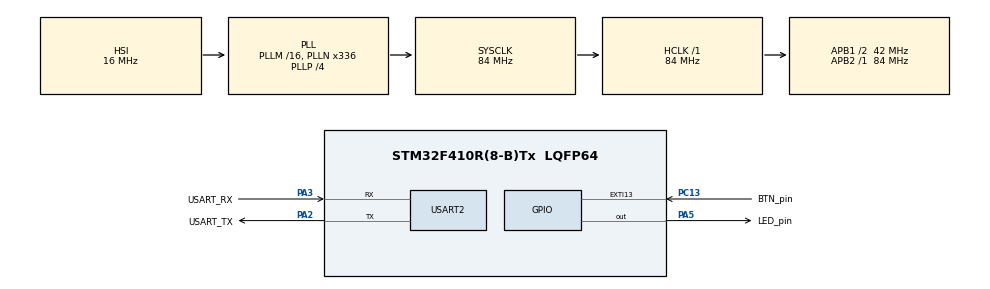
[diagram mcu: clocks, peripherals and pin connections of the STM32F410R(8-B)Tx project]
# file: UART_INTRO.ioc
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Mcu.Family=STM32F4
Mcu.Name=STM32F410R(8-B)Tx
Mcu.Package=LQFP64
NVIC.PriorityGroup=NVIC_PRIORITYGROUP_0
NVIC.USART2_IRQn=true\:0\:0\:false\:false\:true\:true\:true\:true
PA13.GPIO_Label=TMS
PA13.Mode=Serial_Wire
PA13.Signal=SYS_JTMS-SWDIO
PA14.GPIO_Label=TCK
PA14.Mode=Serial_Wire
PA14.Signal=SYS_JTCK-SWCLK
PA2.GPIO_Label=USART_TX
PA2.Mode=Asynchronous
PA2.Signal=USART2_TX
PA3.GPIO_Label=USART_RX
PA3.Mode=Asynchronous
PA3.Signal=USART2_RX
PA5.GPIO_Label=LED_pin
PA5.Signal=GPIO_Output
PB3.GPIO_Label=SWO
PB3.Signal=SYS_JTDO-SWO
PC13-ANTI_TAMP.GPIO_Label=BTN_pin
PC13-ANTI_TAMP.GPIO_ModeDefaultEXTI=GPIO_MODE_IT_FALLING
PC13-ANTI_TAMP.Signal=GPXTI13
PC14-OSC32_IN.Mode=LSE-External-Oscillator
PC14-OSC32_IN.Signal=RCC_OSC32_IN
PC15-OSC32_OUT.Mode=LSE-External-Oscillator
PC15-OSC32_OUT.Signal=RCC_OSC32_OUT
PH0\ -\ OSC_IN.Mode=HSE-External-Clock-Source
PH0\ -\ OSC_IN.Signal=RCC_OSC_IN
PH1\ -\ OSC_OUT.Mode=HSE-External-Clock-Source
PH1\ -\ OSC_OUT.Signal=RCC_OSC_OUT
ProjectManager.HeapSize=0x200
ProjectManager.StackSize=0x400
ProjectManager.TargetToolchain=STM32CubeIDE
RCC.48MHZClocksFreq_Value=84000000
RCC.AHBFreq_Value=84000000
RCC.APB1CLKDivider=RCC_HCLK_DIV2
RCC.APB1Freq_Value=42000000
RCC.APB1TimFreq_Value=84000000
RCC.APB2Freq_Value=84000000
RCC.APB2TimFreq_Value=84000000
RCC.CortexFreq_Value=84000000
RCC.FLatency-AdvancedSettings=FLASH_LATENCY_2
RCC.HCLKFreq_Value=84000000
RCC.HSE_VALUE=8000000
RCC.HSI_VALUE=16000000
RCC.PLLN=336
RCC.PLLP=RCC_PLLP_DIV4
RCC.SYSCLKFreq_VALUE=84000000
RCC.SYSCLKSource=RCC_SYSCLKSOURCE_PLLCLK
RCC.VCOOutputFreq_Value=336000000
USART2.VirtualMode=VM_ASYNC
board=NUCLEO-F410RB

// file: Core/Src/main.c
/* USER CODE BEGIN Header */
/**
 ******************************************************************************
 * @file           : main.c
 * @brief          : Main program body
 ******************************************************************************
 * @attention
 *
 * Copyright (c) 2023 STMicroelectronics.
 * All rights reserved.
 *
 * This software is licensed under terms that can be found in the LICENSE file
 * in the root directory of this software component.
 * If no LICENSE file comes with this software, it is provided AS-IS.
 *
 ******************************************************************************
 */
/* USER CODE END Header */
#include "main.h"

/* USER CODE BEGIN Includes */
#include <string.h>
/* USER CODE END Includes */

UART_HandleTypeDef huart2;

void SystemClock_Config(void);
static void MX_GPIO_Init(void);
static void MX_USART2_UART_Init(void);

/* USER CODE BEGIN 0 */
uint8_t rx_buffer_pos;
uint8_t rx_data[2];
uint8_t rx_buffer[20];

/* USER CODE END 0 */

int main(void) {

	/* MCU Configuration--------------------------------------------------------*/

	/* Reset of all peripherals, Initializes the Flash interface and the Systick. */
	HAL_Init();

	/* Configure the system clock */
	SystemClock_Config();

	/* Initialize all configured peripherals */
	MX_GPIO_Init();
	MX_USART2_UART_Init();
	/* USER CODE BEGIN 2 */
	HAL_UART_Receive_IT(&huart2, (uint8_t*) rx_data, 1);
	/* USER CODE END 2 */

	/* Infinite loop */
	while (1) {

	}
}

void SystemClock_Config(void) {
	RCC_OscInitTypeDef RCC_OscInitStruct = { 0 };
	RCC_ClkInitTypeDef RCC_ClkInitStruct = { 0 };

	/** Configure the main internal regulator output voltage
	 */
	__HAL_RCC_PWR_CLK_ENABLE();
	__HAL_PWR_VOLTAGESCALING_CONFIG(PWR_REGULATOR_VOLTAGE_SCALE1);

	/** Initializes the RCC Oscillators according to the specified parameters
	 * in the RCC_OscInitTypeDef structure.
	 */
	RCC_OscInitStruct.OscillatorType = RCC_OSCILLATORTYPE_HSI;
	RCC_OscInitStruct.HSIState = RCC_HSI_ON;
	RCC_OscInitStruct.HSICalibrationValue = RCC_HSICALIBRATION_DEFAULT;
	RCC_OscInitStruct.PLL.PLLState = RCC_PLL_ON;
	RCC_OscInitStruct.PLL.PLLSource = RCC_PLLSOURCE_HSI;
	RCC_OscInitStruct.PLL.PLLM = 16;
	RCC_OscInitStruct.PLL.PLLN = 336;
	RCC_OscInitStruct.PLL.PLLP = RCC_PLLP_DIV4;
	RCC_OscInitStruct.PLL.PLLQ = 4;
	RCC_OscInitStruct.PLL.PLLR = 2;
	if (HAL_RCC_OscConfig(&RCC_OscInitStruct) != HAL_OK) {
		Error_Handler();
	}

	/** Initializes the CPU, AHB and APB buses clocks
	 */
	RCC_ClkInitStruct.ClockType = RCC_CLOCKTYPE_HCLK | RCC_CLOCKTYPE_SYSCLK
			| RCC_CLOCKTYPE_PCLK1 | RCC_CLOCKTYPE_PCLK2;
	RCC_ClkInitStruct.SYSCLKSource = RCC_SYSCLKSOURCE_PLLCLK;
	RCC_ClkInitStruct.AHBCLKDivider = RCC_SYSCLK_DIV1;
	RCC_ClkInitStruct.APB1CLKDivider = RCC_HCLK_DIV2;
	RCC_ClkInitStruct.APB2CLKDivider = RCC_HCLK_DIV1;

	if (HAL_RCC_ClockConfig(&RCC_ClkInitStruct, FLASH_LATENCY_2) != HAL_OK) {
		Error_Handler();
	}
}

static void MX_USART2_UART_Init(void) {

	huart2.Instance = USART2;
	huart2.Init.BaudRate = 115200;
	huart2.Init.WordLength = UART_WORDLENGTH_8B;
	huart2.Init.StopBits = UART_STOPBITS_1;
	huart2.Init.Parity = UART_PARITY_NONE;
	huart2.Init.Mode = UART_MODE_TX_RX;
	huart2.Init.HwFlowCtl = UART_HWCONTROL_NONE;
	huart2.Init.OverSampling = UART_OVERSAMPLING_16;
	if (HAL_UART_Init(&huart2) != HAL_OK) {
		Error_Handler();
	}

}

static void MX_GPIO_Init(void) {
	GPIO_InitTypeDef GPIO_InitStruct = { 0 };

	/* GPIO Ports Clock Enable */
	__HAL_RCC_GPIOC_CLK_ENABLE();
	__HAL_RCC_GPIOH_CLK_ENABLE();
	__HAL_RCC_GPIOA_CLK_ENABLE();
	__HAL_RCC_GPIOB_CLK_ENABLE();

	/*Configure GPIO pin Output Level */
	HAL_GPIO_WritePin(LED_pin_GPIO_Port, LED_pin_Pin, GPIO_PIN_RESET);

	/*Configure GPIO pin : BTN_pin_Pin */
	GPIO_InitStruct.Pin = BTN_pin_Pin;
	GPIO_InitStruct.Mode = GPIO_MODE_IT_FALLING;
	GPIO_InitStruct.Pull = GPIO_NOPULL;
	HAL_GPIO_Init(BTN_pin_GPIO_Port, &GPIO_InitStruct);

	/*Configure GPIO pin : LED_pin_Pin */
	GPIO_InitStruct.Pin = LED_pin_Pin;
	GPIO_InitStruct.Mode = GPIO_MODE_OUTPUT_PP;
	GPIO_InitStruct.Pull = GPIO_NOPULL;
	GPIO_InitStruct.Speed = GPIO_SPEED_FREQ_LOW;
	HAL_GPIO_Init(LED_pin_GPIO_Port, &GPIO_InitStruct);

}

/* USER CODE BEGIN 4 */
void HAL_UART_RxCpltCallback(UART_HandleTypeDef *huart) {
	/* Prevent unused argument(s) compilation warning */
	UNUSED(huart);
	/* NOTE: This function should not be modified, when the callback is needed,
	 the HAL_UART_RxCpltCallback could be implemented in the user file
	 */
//	if (huart->Instance == USART2) {
//
//		HAL_UART_Receive_IT(&huart2, UART_DATA_TO_RX, 5);
//	}
	if (huart->Instance == USART2) {
		if (rx_data[0] != '/') { //if it is not equal to 'COMMAND END' then write data into INCREMENTED POS of rx_buffer
			rx_buffer[rx_buffer_pos++] = rx_data[0];
		} else { // HERE IT MEANS if(rx_data[0] == '/') IF it is equal to 'COMMAND END' then clear the buffer, compare data and move on
			rx_buffer_pos = 0;
			HAL_UART_Transmit(&huart2, "\n\r", 2, 100);
			if (!strcmp(rx_buffer, "LED ON")) {
				HAL_GPIO_WritePin(GPIOA, GPIO_PIN_5, GPIO_PIN_SET);
			} else if (!strcmp(rx_buffer, "LED OFF")) {
				HAL_GPIO_WritePin(GPIOA, GPIO_PIN_5, GPIO_PIN_RESET);
			}
			uint8_t i;
			//AFTER USING THE DATA CLEAR THE RX BUFFER
			if (rx_buffer_pos == 0) { //RESET THE BUFFER ONLY WHEN RX { BUFFER == 0 }
				for (i = 0; i < 20; i++)
					rx_buffer[i] = 0;
			}
		}
		HAL_UART_Receive_IT(&huart2, rx_data, 1);
		HAL_UART_Transmit(&huart2, (const uint8_t*) rx_data, 1, 100);
	}
}
/* USER CODE END 4 */

void Error_Handler(void) {
	__disable_irq();
	while (1) {
	}
}
